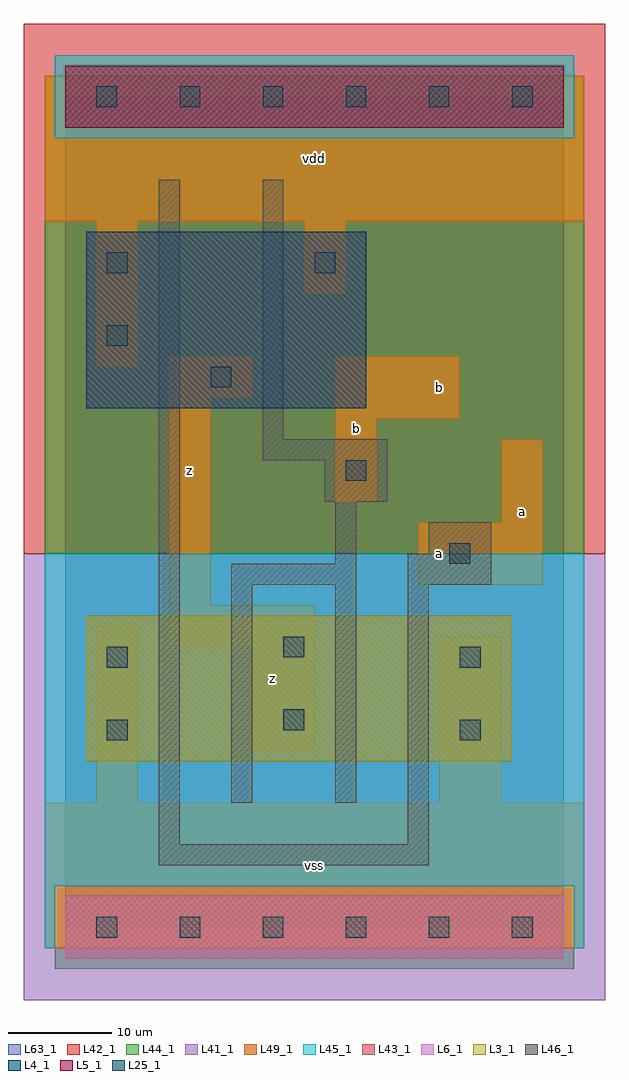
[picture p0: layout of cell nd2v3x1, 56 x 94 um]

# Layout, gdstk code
import gdstk
lib = gdstk.Library(unit=1e-6, precision=1e-09)
def R(c, l, rs):  # rectangles x0, y0, x1, y1
    for r in rs: c.add(gdstk.rectangle(r[:2], r[2:], *l))
def A(c, l, x, y, w, h, nx, ny, dx, dy):  # array of equal rectangles
    R(c, l, [(x+i*dx, y+j*dy, x+i*dx+w, y+j*dy+h) for i in range(nx) for j in range(ny)])
L3_1 = (3, 1)
L4_1 = (4, 1)
L5_1 = (5, 1)
L6_1 = (6, 1)
L25_1 = (25, 1)
L41_1 = (41, 1)
L42_1 = (42, 1)
L43_1 = (43, 1)
L44_1 = (44, 1)
L45_1 = (45, 1)
L46_1 = (46, 1)
L49_1 = (49, 1)
L63_1 = (63, 1)

nd2v3x1 = lib.new_cell('nd2v3x1')
R(nd2v3x1, L3_1, [(2,16,43,30)])
R(nd2v3x1, L4_1, [(2,50,29,67)])
R(nd2v3x1, L5_1, [(0,77,48,83)])
R(nd2v3x1, L6_1, [(0,-3,48,3), (0,-3,48,3)])
A(nd2v3x1, L25_1, 3, -1, 2, 2, 6, 2, 8, 80)
R(nd2v3x1, L25_1, [(4,18,6,20), (38,18,40,20), (21,19,23,21), (4,25,6,27), (38,25,40,27), (21,26,23,28), (37,35,39,37), (27,43,29,45), (14,52,16,54), (4,56,6,58), (4,63,6,65), (24,63,26,65)])
R(nd2v3x1, L41_1, [(-4,-7,52,36)])
R(nd2v3x1, L42_1, [(-4,36,52,87)])
R(nd2v3x1, L43_1, [(0,-3,48,3), (2,16,43,30), (2,50,29,67), (0,77,48,83)])
R(nd2v3x1, L44_1, [(-1,-4,49,4), (-2,36,50,76), (-2,76,-1,82), (49,76,50,82)])
R(nd2v3x1, L45_1, [(-2,-2,-1,4), (49,-2,50,4), (-2,4,50,36), (-1,76,49,84)])
R(nd2v3x1, L46_1, [(9,6,35,8), (9,8,11,72), (33,8,35,33), (16,12,18,33), (26,12,28,33), (16,33,28,35), (33,33,41,36), (26,35,28,41), (35,36,41,39), (25,41,31,45), (19,45,31,47), (19,47,21,72)])
R(nd2v3x1, L49_1, [(-2,-2,50,12), (3,12,7,29), (36,12,42,28), (18,17,24,27), (10,27,24,31), (10,31,14,51), (34,33,46,39), (42,39,46,47), (26,41,30,49), (26,49,38,55), (10,51,18,55), (3,54,7,68), (23,61,27,68), (-2,68,50,82)])
R(nd2v3x1, L63_1, [(0,0,48,80)])
nd2v3x1.add(gdstk.Label('z', (20,24), layer=49, texttype=1))
nd2v3x1.add(gdstk.Label('z', (12,44), layer=49, texttype=1))
nd2v3x1.add(gdstk.Label('vss', (24,6), layer=49, texttype=1))
nd2v3x1.add(gdstk.Label('b', (28,48), layer=49, texttype=1))
nd2v3x1.add(gdstk.Label('vdd', (24,74), layer=49, texttype=1))
nd2v3x1.add(gdstk.Label('a', (36,36), layer=49, texttype=1))
nd2v3x1.add(gdstk.Label('a', (44,40), layer=49, texttype=1))
nd2v3x1.add(gdstk.Label('b', (36,52), layer=49, texttype=1))

lib.write_gds('nd2v3x1.gds')
